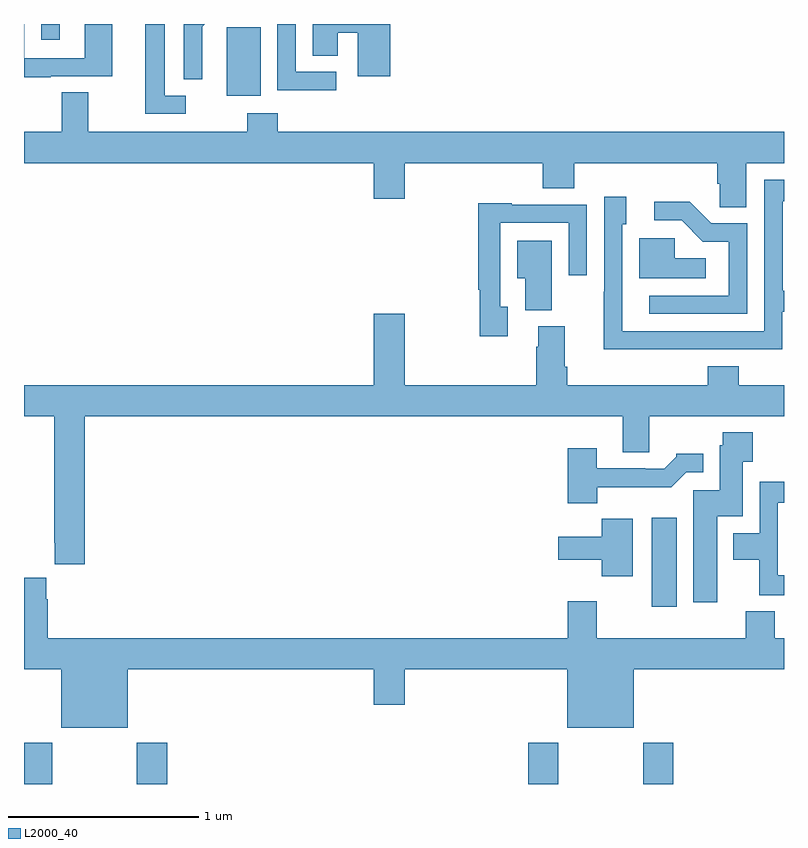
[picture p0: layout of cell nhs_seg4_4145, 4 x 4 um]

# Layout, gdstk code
import gdstk
lib = gdstk.Library(unit=1e-6, precision=1e-09)
def R(c, l, rs):  # rectangles x0, y0, x1, y1
    for r in rs: c.add(gdstk.rectangle(r[:2], r[2:], *l))
def P(c, l, *ps):  # polygons
    for p in ps: c.add(gdstk.Polygon(p, *l))
L2000_40 = (2000, 40)

nhs_seg4_4145 = lib.new_cell('nhs_seg4_4145')
R(nhs_seg4_4145, L2000_40, [(331,778.9,331.149,779.116), (331.594,778.9,331.754,779.116), (333.653,778.9,333.813,779.116), (334.258,778.9,334.418,779.116), (334.304,779.832,334.435,780.301), (332.066,782.522,332.245,782.883), (331.092,782.817,331.189,782.9)])
P(nhs_seg4_4145, L2000_40, [(332.644,782.649),(332.43,782.649),(332.43,782.9),(332.334,782.9),(332.334,782.551),(332.644,782.551)],
  [(331.938,782.762),(331.937,782.762),(331.937,782.885),(331.952,782.9),(331.842,782.9),(331.842,782.608),(331.938,782.608)],
  [(332.927,782.9),(332.519,782.9),(332.519,782.734),(332.65,782.734),(332.65,782.855),(332.756,782.855),(332.756,782.625),(332.927,782.625)],
  [(331.141,782.625),(331.465,782.625),(331.465,782.9),(331.32,782.9),(331.32,782.721),(331.002,782.721),(331.002,782.9),(331,782.9),(331,782.621),(331.141,782.621)],
  [(331.852,782.523),(331.741,782.523),(331.741,782.9),(331.637,782.9),(331.637,782.427),(331.852,782.427)],
  [(334.801,782.168),(335,782.168),(335,782.332),(332.336,782.332),(332.336,782.431),(332.176,782.431),(332.176,782.332),(331.339,782.332),(331.339,782.54),(331.199,782.54),(331.199,782.332),(331,782.332),(331,782.168),(332.84,782.168),(332.84,781.98),(333.004,781.98),(333.004,782.168),(333.731,782.168),(333.731,782.035),(333.896,782.035),(333.896,782.168),(334.649,782.168),(334.649,782.059),(334.662,782.059),(334.662,781.936),(334.801,781.936)],
  [(334.514,781.188),(334.992,781.188),(334.992,781.386),(335,781.386),(335,781.495),(334.993,781.495),(334.993,781.968),(335,781.968),(335,782.079),(334.896,782.079),(334.896,781.284),(334.149,781.284),(334.149,781.845),(334.171,781.845),(334.171,781.99),(334.053,781.99),(334.053,781.49),(334.052,781.49),(334.052,781.187),(334.514,781.187)],
  [(334.806,781.851),(334.617,781.851),(334.504,781.964),(334.317,781.964),(334.317,781.866),(334.461,781.866),(334.572,781.755),(334.71,781.755),(334.71,781.47),(334.29,781.47),(334.29,781.374),(334.806,781.374)],
  [(333.547,781.413),(333.507,781.413),(333.507,781.854),(333.867,781.854),(333.867,781.578),(333.963,781.578),(333.963,781.95),(333.567,781.95),(333.567,781.957),(333.391,781.957),(333.391,781.501),(333.399,781.501),(333.399,781.257),(333.547,781.257)],
  [(334.588,781.666),(334.425,781.666),(334.425,781.773),(334.238,781.773),(334.238,781.562),(334.588,781.562)],
  [(333.778,781.759),(333.596,781.759),(333.596,781.562),(333.638,781.562),(333.638,781.393),(333.778,781.393)],
  [(331.319,780.836),(334.151,780.836),(334.151,780.646),(334.291,780.646),(334.291,780.836),(335,780.836),(335,781),(334.763,781),(334.763,781.099),(334.598,781.099),(334.598,781),(333.86,781),(333.86,781.096),(333.847,781.096),(333.847,781.308),(333.707,781.308),(333.707,781.202),(333.695,781.202),(333.695,781),(333.004,781),(333.004,781.375),(332.84,781.375),(332.84,781),(331,781),(331,780.836),(331.159,780.836),(331.159,780.169),(331.163,780.169),(331.163,780.057),(331.319,780.057)],
  [(334.648,780.308),(334.783,780.308),(334.783,780.595),(334.835,780.595),(334.835,780.751),(334.678,780.751),(334.678,780.684),(334.661,780.684),(334.661,780.447),(334.523,780.447),(334.523,779.856),(334.648,779.856)],
  [(334.018,780.462),(334.407,780.462),(334.485,780.54),(334.576,780.54),(334.576,780.637),(334.434,780.637),(334.434,780.622),(334.37,780.558),(334.271,780.558),(334.271,780.561),(334.015,780.561),(334.015,780.667),(333.863,780.667),(333.863,780.377),(334.018,780.377)],
  [(335,779.998),(334.968,779.998),(334.968,780.381),(335,780.381),(335,780.49),(334.872,780.49),(334.872,780.22),(334.733,780.22),(334.733,780.08),(334.87,780.08),(334.87,779.894),(335,779.894)],
  [(334.204,780.295),(334.042,780.295),(334.042,780.202),(333.813,780.202),(333.813,780.08),(334.04,780.08),(334.04,779.994),(334.204,779.994)],
  [(331.546,779.504),(332.84,779.504),(332.84,779.316),(333.004,779.316),(333.004,779.504),(333.86,779.504),(333.86,779.195),(334.21,779.195),(334.21,779.504),(335,779.504),(335,779.668),(334.951,779.668),(334.951,779.809),(334.799,779.809),(334.799,779.668),(334.015,779.668),(334.015,779.863),(333.863,779.863),(333.863,779.668),(331.124,779.668),(331.124,779.873),(331.117,779.873),(331.117,779.986),(331,779.986),(331,779.504),(331.196,779.504),(331.196,779.195),(331.546,779.195)])

lib.write_gds('nhs_seg4_4145.gds')
